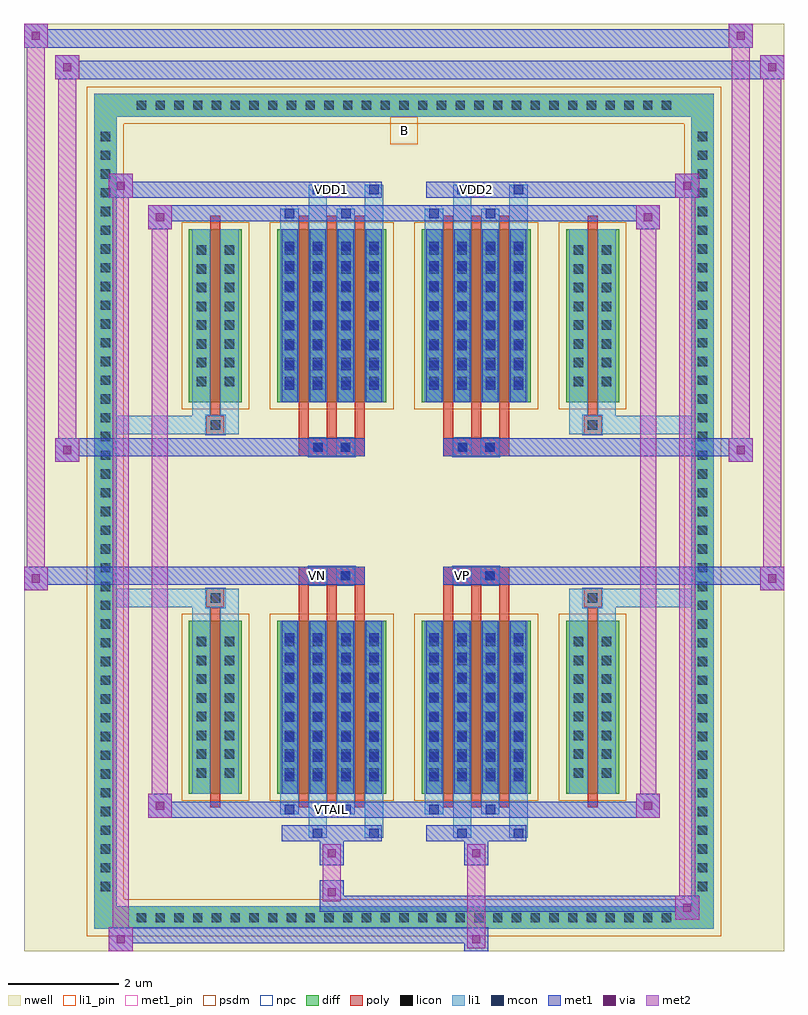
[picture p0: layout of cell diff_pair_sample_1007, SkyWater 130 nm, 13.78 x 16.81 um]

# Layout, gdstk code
import gdstk
lib = gdstk.Library(unit=1e-6, precision=5e-09)
def R(c, l, rs):  # rectangles x0, y0, x1, y1
    for r in rs: c.add(gdstk.rectangle(r[:2], r[2:], *l))
def A(c, l, x, y, w, h, nx, ny, dx, dy):  # array of equal rectangles
    R(c, l, [(x+i*dx, y+j*dy, x+i*dx+w, y+j*dy+h) for i in range(nx) for j in range(ny)])
def P(c, l, *ps):  # polygons
    for p in ps: c.add(gdstk.Polygon(p, *l))
nwell = (64, 20)
diff = (65, 20)
poly = (66, 20)
licon = (66, 44)
li1_pin = (67, 16)
li1 = (67, 20)
mcon = (67, 44)
met1_pin = (68, 16)
met1 = (68, 20)
via = (68, 44)
met2 = (69, 20)
psdm = (94, 20)
npc = (95, 20)

diff_pair_sample_1007 = lib.new_cell('diff_pair_sample_1007')
R(diff_pair_sample_1007, nwell, [(-6.89,-7.97,6.89,8.84), (-4.21,-6.16,-0.01,-0.8), (0.01,-6.16,4.21,-0.8), (-4.21,0.8,-0.01,6.16), (0.01,0.8,4.21,6.16)])
A(diff_pair_sample_1007, diff, -4.965, -7.57, 0.41, 0.41, 29, 2, 0.34, 14.73)
A(diff_pair_sample_1007, diff, -5.62, -7.005, 0.41, 0.41, 1, 41, 0, 0.34)
A(diff_pair_sample_1007, diff, 5.21, -7.005, 0.41, 0.41, 1, 41, 0, 0.34)
R(diff_pair_sample_1007, diff, [(-4.965,-7.57,4.965,-7.16), (-5.62,-7.005,-5.21,7.005), (5.21,-7.005,5.62,7.005), (-3.9,-5.115,-2.94,-1.985), (-2.3,-5.115,-0.32,-1.985), (0.32,-5.115,2.3,-1.985), (2.94,-5.115,3.9,-1.985), (-3.9,1.985,-2.94,5.115), (-2.3,1.985,-0.32,5.115), (0.32,1.985,2.3,5.115), (2.94,1.985,3.9,5.115), (-4.965,7.16,4.965,7.57)])
P(diff_pair_sample_1007, diff, [(5.62,7.57),(-5.62,7.57),(-5.62,-7.16),(-5.21,-7.16),(-5.21,7.16),(5.21,7.16),(5.21,-7.16),(-5.21,-7.16),(-5.62,-7.16),(-5.62,-7.57),(5.62,-7.57)])
A(diff_pair_sample_1007, poly, -1.91, -5.365, 0.18, 3.63, 3, 2, 0.51, 7.1)
A(diff_pair_sample_1007, poly, 0.71, -5.365, 0.18, 3.63, 3, 2, 0.51, 7.1)
A(diff_pair_sample_1007, poly, -1.91, -1.735, 0.18, 0.405, 3, 2, 0.51, 3.065)
A(diff_pair_sample_1007, poly, 0.71, -1.735, 0.18, 0.405, 3, 2, 0.51, 3.065)
R(diff_pair_sample_1007, poly, [(-3.51,-5.365,-3.33,-1.735), (3.33,-5.365,3.51,-1.735), (-3.585,-1.735,-3.255,-1.405), (-3.585,-1.735,-3.255,-1.405), (3.255,-1.735,3.585,-1.405), (3.255,-1.735,3.585,-1.405), (-1.91,-1.33,-0.71,-1), (-1.725,-1.33,-1.395,-1), (-1.225,-1.33,-0.895,-1), (0.71,-1.33,1.91,-1), (0.895,-1.33,1.225,-1), (1.395,-1.33,1.725,-1), (-1.91,1,-0.71,1.33), (-1.725,1,-1.395,1.33), (-1.225,1,-0.895,1.33), (0.71,1,1.91,1.33), (0.895,1,1.225,1.33), (1.395,1,1.725,1.33), (-3.585,1.405,-3.255,1.735), (-3.585,1.405,-3.255,1.735), (3.255,1.405,3.585,1.735), (3.255,1.405,3.585,1.735), (-3.51,1.735,-3.33,5.365), (3.33,1.735,3.51,5.365)])
A(diff_pair_sample_1007, licon, -4.845, -7.45, 0.17, 0.17, 29, 2, 0.34, 14.73)
A(diff_pair_sample_1007, licon, -5.5, -6.885, 0.17, 0.17, 1, 41, 0, 0.34)
A(diff_pair_sample_1007, licon, 5.33, -6.885, 0.17, 0.17, 1, 41, 0, 0.34)
A(diff_pair_sample_1007, licon, -3.76, -4.825, 0.17, 0.17, 1, 8, 0, 0.34)
A(diff_pair_sample_1007, licon, -3.25, -4.825, 0.17, 0.17, 1, 8, 0, 0.34)
A(diff_pair_sample_1007, licon, -2.16, -4.825, 0.17, 0.17, 4, 8, 0.51, 0.34)
A(diff_pair_sample_1007, licon, 0.46, -4.825, 0.17, 0.17, 4, 8, 0.51, 0.34)
A(diff_pair_sample_1007, licon, 3.08, -4.825, 0.17, 0.17, 1, 8, 0, 0.34)
A(diff_pair_sample_1007, licon, 3.59, -4.825, 0.17, 0.17, 1, 8, 0, 0.34)
A(diff_pair_sample_1007, licon, -3.76, 2.275, 0.17, 0.17, 1, 8, 0, 0.34)
A(diff_pair_sample_1007, licon, -3.25, 2.275, 0.17, 0.17, 1, 8, 0, 0.34)
A(diff_pair_sample_1007, licon, -2.16, 2.275, 0.17, 0.17, 4, 8, 0.51, 0.34)
A(diff_pair_sample_1007, licon, 0.46, 2.275, 0.17, 0.17, 4, 8, 0.51, 0.34)
A(diff_pair_sample_1007, licon, 3.08, 2.275, 0.17, 0.17, 1, 8, 0, 0.34)
A(diff_pair_sample_1007, licon, 3.59, 2.275, 0.17, 0.17, 1, 8, 0, 0.34)
R(diff_pair_sample_1007, licon, [(-3.505,-1.655,-3.335,-1.485), (3.335,-1.655,3.505,-1.485), (-1.645,-1.25,-1.475,-1.08), (-1.145,-1.25,-0.975,-1.08), (0.975,-1.25,1.145,-1.08), (1.475,-1.25,1.645,-1.08), (-1.645,1.08,-1.475,1.25), (-1.145,1.08,-0.975,1.25), (0.975,1.08,1.145,1.25), (1.475,1.08,1.645,1.25), (-3.505,1.485,-3.335,1.655), (3.335,1.485,3.505,1.655)])
R(diff_pair_sample_1007, li1_pin, [(-0.25,6.66,0.25,7.16)])
A(diff_pair_sample_1007, li1, -4.925, -7.53, 0.33, 0.33, 29, 2, 0.34, 14.73)
A(diff_pair_sample_1007, li1, -5.58, -6.965, 0.33, 0.33, 1, 41, 0, 0.34)
A(diff_pair_sample_1007, li1, 5.25, -6.965, 0.33, 0.33, 1, 41, 0, 0.34)
A(diff_pair_sample_1007, li1, -2.24, -5.115, 0.33, 3.13, 4, 2, 0.51, 7.1)
A(diff_pair_sample_1007, li1, 0.38, -5.115, 0.33, 3.13, 4, 2, 0.51, 7.1)
A(diff_pair_sample_1007, li1, -3.84, -4.905, 0.33, 0.33, 1, 8, 0, 0.34)
A(diff_pair_sample_1007, li1, -3.33, -4.905, 0.33, 0.33, 1, 8, 0, 0.34)
A(diff_pair_sample_1007, li1, -2.24, -4.905, 0.33, 0.33, 4, 8, 0.51, 0.34)
A(diff_pair_sample_1007, li1, 0.38, -4.905, 0.33, 0.33, 4, 8, 0.51, 0.34)
A(diff_pair_sample_1007, li1, 3, -4.905, 0.33, 0.33, 1, 8, 0, 0.34)
A(diff_pair_sample_1007, li1, 3.51, -4.905, 0.33, 0.33, 1, 8, 0, 0.34)
A(diff_pair_sample_1007, li1, -2.16, -4.895, 0.17, 0.17, 4, 8, 0.51, 0.36)
A(diff_pair_sample_1007, li1, -2.16, -4.895, 0.17, 2.69, 4, 2, 0.51, 7.1)
A(diff_pair_sample_1007, li1, 0.46, -4.895, 0.17, 0.17, 4, 8, 0.51, 0.36)
A(diff_pair_sample_1007, li1, 0.46, -4.895, 0.17, 2.69, 4, 2, 0.51, 7.1)
A(diff_pair_sample_1007, li1, -3.84, 2.195, 0.33, 0.33, 1, 8, 0, 0.34)
A(diff_pair_sample_1007, li1, -3.33, 2.195, 0.33, 0.33, 1, 8, 0, 0.34)
A(diff_pair_sample_1007, li1, -2.24, 2.195, 0.33, 0.33, 4, 8, 0.51, 0.34)
A(diff_pair_sample_1007, li1, 0.38, 2.195, 0.33, 0.33, 4, 8, 0.51, 0.34)
A(diff_pair_sample_1007, li1, 3, 2.195, 0.33, 0.33, 1, 8, 0, 0.34)
A(diff_pair_sample_1007, li1, 3.51, 2.195, 0.33, 0.33, 1, 8, 0, 0.34)
A(diff_pair_sample_1007, li1, -2.16, 2.205, 0.17, 0.17, 4, 8, 0.51, 0.36)
A(diff_pair_sample_1007, li1, 0.46, 2.205, 0.17, 0.17, 4, 8, 0.51, 0.36)
R(diff_pair_sample_1007, li1, [(-5.62,-7.57,-5.21,-7.16), (-5.62,-7.57,-5.21,-7.16), (-5.21,-7.57,5.21,-7.16), (5.21,-7.57,5.62,-7.16), (5.21,-7.57,5.62,-7.16), (-5.62,-7.16,-5.21,7.16), (5.21,-7.16,5.62,7.16), (-1.73,-5.92,-1.4,-5.115), (-1.65,-5.92,-1.48,-5.75), (-0.71,-5.92,-0.38,-5.115), (-0.63,-5.92,-0.46,-5.75), (0.89,-5.92,1.22,-5.115), (0.97,-5.92,1.14,-5.75), (1.91,-5.92,2.24,-5.115), (1.99,-5.92,2.16,-5.75), (-2.24,-5.49,-1.91,-5.115), (-2.16,-5.49,-1.99,-5.32), (-1.22,-5.49,-0.89,-5.115), (-1.14,-5.49,-0.97,-5.32), (0.38,-5.49,0.71,-5.115), (0.46,-5.49,0.63,-5.32), (1.4,-5.49,1.73,-5.115), (1.48,-5.49,1.65,-5.32), (-3.84,-5.115,-3.51,-1.985), (-3.33,-5.115,-3,-1.985), (3,-5.115,3.33,-1.985), (3.51,-5.115,3.84,-1.985), (-3.84,-1.985,-3.51,-1.405), (-3.33,-1.985,-3,-1.405), (3,-1.985,3.33,-1.405), (3.51,-1.985,3.84,-1.405), (-5.62,-1.735,-3.585,-1.405), (-3.84,-1.735,-3.585,-1.405), (-3.585,-1.735,-3.255,-1.405), (-3.255,-1.735,-3,-1.405), (3,-1.735,3.255,-1.405), (3.255,-1.735,3.585,-1.405), (3.255,-1.735,5.62,-1.405), (3.585,-1.735,3.84,-1.405), (-1.725,-1.33,-1.395,-1), (-1.225,-1.33,-0.895,-1), (0.895,-1.33,1.225,-1), (1.395,-1.33,1.725,-1), (-1.725,1,-1.395,1.33), (-1.225,1,-0.895,1.33), (0.895,1,1.225,1.33), (1.395,1,1.725,1.33), (-5.62,1.405,-3.585,1.735), (-3.84,1.405,-3.585,1.735), (-3.84,1.405,-3.51,1.985), (-3.585,1.405,-3.255,1.735), (-3.33,1.405,-3,1.985), (-3.255,1.405,-3,1.735), (3,1.405,3.255,1.735), (3,1.405,3.33,1.985), (3.255,1.405,3.585,1.735), (3.255,1.405,5.62,1.735), (3.51,1.405,3.84,1.985), (3.585,1.405,3.84,1.735), (-3.84,1.985,-3.51,5.115), (-3.33,1.985,-3,5.115), (3,1.985,3.33,5.115), (3.51,1.985,3.84,5.115), (-2.24,5.115,-1.91,5.49), (-1.73,5.115,-1.4,5.92), (-1.22,5.115,-0.89,5.49), (-0.71,5.115,-0.38,5.92), (0.38,5.115,0.71,5.49), (0.89,5.115,1.22,5.92), (1.4,5.115,1.73,5.49), (1.91,5.115,2.24,5.92), (-2.16,5.32,-1.99,5.49), (-1.14,5.32,-0.97,5.49), (0.46,5.32,0.63,5.49), (1.48,5.32,1.65,5.49), (-1.65,5.75,-1.48,5.92), (-0.63,5.75,-0.46,5.92), (0.97,5.75,1.14,5.92), (1.99,5.75,2.16,5.92), (-5.62,7.16,-5.21,7.57), (-5.62,7.16,-5.21,7.57), (-5.21,7.16,5.21,7.57), (5.21,7.16,5.62,7.57), (5.21,7.16,5.62,7.57)])
A(diff_pair_sample_1007, mcon, -2.16, -4.895, 0.17, 0.17, 4, 8, 0.51, 0.36)
A(diff_pair_sample_1007, mcon, 0.46, -4.895, 0.17, 0.17, 4, 8, 0.51, 0.36)
A(diff_pair_sample_1007, mcon, -2.16, 2.205, 0.17, 0.17, 4, 8, 0.51, 0.36)
A(diff_pair_sample_1007, mcon, 0.46, 2.205, 0.17, 0.17, 4, 8, 0.51, 0.36)
R(diff_pair_sample_1007, mcon, [(-1.65,-5.92,-1.48,-5.75), (-0.63,-5.92,-0.46,-5.75), (0.97,-5.92,1.14,-5.75), (1.99,-5.92,2.16,-5.75), (-2.16,-5.49,-1.99,-5.32), (-1.14,-5.49,-0.97,-5.32), (0.46,-5.49,0.63,-5.32), (1.48,-5.49,1.65,-5.32), (-1.645,-1.25,-1.475,-1.08), (-1.145,-1.25,-0.975,-1.08), (0.975,-1.25,1.145,-1.08), (1.475,-1.25,1.645,-1.08), (-1.645,1.08,-1.475,1.25), (-1.145,1.08,-0.975,1.25), (0.975,1.08,1.145,1.25), (1.475,1.08,1.645,1.25), (-2.16,5.32,-1.99,5.49), (-1.14,5.32,-0.97,5.49), (0.46,5.32,0.63,5.49), (1.48,5.32,1.65,5.49), (-1.65,5.75,-1.48,5.92), (-0.63,5.75,-0.46,5.92), (0.97,5.75,1.14,5.92), (1.99,5.75,2.16,5.92)])
R(diff_pair_sample_1007, met1_pin, [(-1.445,-5.53,-1.175,-5.26), (-1.695,-1.29,-1.425,-1.02), (0.925,-1.29,1.195,-1.02), (-1.445,5.71,-1.175,5.98), (1.175,5.71,1.445,5.98)])
A(diff_pair_sample_1007, met1, -2.22, -5.115, 0.29, 3.13, 4, 2, 0.51, 7.1)
A(diff_pair_sample_1007, met1, 0.4, -5.115, 0.29, 3.13, 4, 2, 0.51, 7.1)
A(diff_pair_sample_1007, met1, -2.22, -4.955, 0.29, 0.29, 4, 8, 0.51, 0.36)
A(diff_pair_sample_1007, met1, 0.4, -4.955, 0.29, 0.29, 4, 8, 0.51, 0.36)
A(diff_pair_sample_1007, met1, -2.22, 2.145, 0.29, 0.29, 4, 8, 0.51, 0.36)
A(diff_pair_sample_1007, met1, 0.4, 2.145, 0.29, 0.29, 4, 8, 0.51, 0.36)
R(diff_pair_sample_1007, met1, [(-5.35,-7.97,-4.92,-7.54), (1.095,-7.97,1.525,-7.54), (-5.35,-7.83,1.525,-7.54), (4.92,-7.4,5.35,-6.97), (-1.525,-7.26,5.35,-6.97), (-1.525,-7.12,-1.095,-6.69), (-1.525,-6.41,-1.095,-5.98), (1.095,-6.41,1.525,-5.98), (-2.22,-5.98,-0.4,-5.69), (-1.71,-5.98,-1.42,-5.69), (-0.69,-5.98,-0.4,-5.69), (0.4,-5.98,2.22,-5.69), (0.91,-5.98,1.2,-5.69), (1.93,-5.98,2.22,-5.69), (-4.64,-5.55,-4.21,-5.12), (-4.64,-5.55,-2.22,-5.26), (-2.22,-5.55,-1.93,-5.26), (-2.22,-5.55,-0.4,-5.26), (-1.2,-5.55,-0.91,-5.26), (-0.4,-5.55,0.4,-5.26), (0.4,-5.55,0.69,-5.26), (0.4,-5.55,2.22,-5.26), (1.42,-5.55,1.71,-5.26), (2.22,-5.55,4.64,-5.26), (4.21,-5.55,4.64,-5.12), (-6.89,-1.43,-6.46,-1), (6.46,-1.43,6.89,-1), (-6.89,-1.33,-0.71,-1), (-1.91,-1.33,-0.71,-1), (0.71,-1.33,1.91,-1), (0.71,-1.33,6.89,-1), (-1.705,-1.31,-1.415,-1.02), (-1.205,-1.31,-0.915,-1.02), (0.915,-1.31,1.205,-1.02), (1.415,-1.31,1.705,-1.02), (-6.32,0.9,-5.89,1.33), (5.89,0.9,6.32,1.33), (-6.32,1,-1.91,1.33), (-1.91,1,-0.71,1.33), (0.71,1,1.91,1.33), (1.91,1,6.32,1.33), (-1.705,1.02,-1.415,1.31), (-1.205,1.02,-0.915,1.31), (0.915,1.02,1.205,1.31), (1.415,1.02,1.705,1.31), (-4.64,5.12,-4.21,5.55), (4.21,5.12,4.64,5.55), (-4.64,5.26,-2.22,5.55), (-2.22,5.26,-1.93,5.55), (-2.22,5.26,-0.4,5.55), (-1.2,5.26,-0.91,5.55), (-0.4,5.26,0.4,5.55), (0.4,5.26,0.69,5.55), (0.4,5.26,2.22,5.55), (1.42,5.26,1.71,5.55), (2.22,5.26,4.64,5.55), (-5.35,5.69,-4.92,6.12), (-5.35,5.69,-2.22,5.98), (-2.22,5.69,-0.4,5.98), (-1.71,5.69,-1.42,5.98), (-0.69,5.69,-0.4,5.98), (0.4,5.69,2.22,5.98), (0.91,5.69,1.2,5.98), (1.93,5.69,2.22,5.98), (2.22,5.69,5.35,5.98), (4.92,5.69,5.35,6.12), (-6.32,7.84,-5.89,8.27), (-6.32,7.84,-4.21,8.17), (-4.21,7.84,4.21,8.17), (4.21,7.84,6.89,8.17), (6.46,7.84,6.89,8.27), (-6.89,8.41,-6.46,8.84), (-6.89,8.41,-4.21,8.74), (-4.21,8.41,4.21,8.74), (4.21,8.41,6.32,8.74), (5.89,8.41,6.32,8.84)])
R(diff_pair_sample_1007, via, [(-5.21,-7.83,-5.06,-7.68), (1.235,-7.83,1.385,-7.68), (5.06,-7.26,5.21,-7.11), (-1.385,-6.98,-1.235,-6.83), (-1.385,-6.27,-1.235,-6.12), (1.235,-6.27,1.385,-6.12), (-4.5,-5.41,-4.35,-5.26), (4.35,-5.41,4.5,-5.26), (-6.75,-1.29,-6.6,-1.14), (6.6,-1.29,6.75,-1.14), (-6.18,1.04,-6.03,1.19), (6.03,1.04,6.18,1.19), (-4.5,5.26,-4.35,5.41), (4.35,5.26,4.5,5.41), (-5.21,5.83,-5.06,5.98), (5.06,5.83,5.21,5.98), (-6.18,7.98,-6.03,8.13), (6.6,7.98,6.75,8.13), (-6.75,8.55,-6.6,8.7), (6.03,8.55,6.18,8.7)])
R(diff_pair_sample_1007, met2, [(-5.35,-7.97,-4.92,-7.54), (-5.28,-7.97,-4.99,6.12), (-4.99,-7.97,-4.92,-7.54), (-5.3,-7.92,-4.97,-7.59), (1.145,-7.92,1.475,-7.59), (1.145,-7.59,1.475,-6.36), (4.92,-7.4,5.35,-6.97), (4.99,-7.4,5.28,6.12), (5.28,-7.4,5.35,-6.97), (4.97,-7.35,5.3,-7.02), (-1.475,-7.07,-1.145,-6.74), (-1.475,-6.74,-1.145,-6.36), (-1.475,-6.36,-1.145,-6.03), (1.145,-6.36,1.475,-6.03), (-4.64,-5.55,-4.21,-5.12), (-4.57,-5.55,-4.28,5.55), (-4.28,-5.55,-4.21,-5.12), (4.21,-5.55,4.64,-5.12), (4.28,-5.55,4.57,5.55), (4.57,-5.55,4.64,-5.12), (-4.59,-5.5,-4.26,-5.17), (4.26,-5.5,4.59,-5.17), (-6.89,-1.43,-6.46,-1), (-6.84,-1.43,-6.51,8.84), (-6.51,-1.43,-6.46,-1), (6.46,-1.43,6.89,-1), (6.51,-1.43,6.84,8.27), (6.84,-1.43,6.89,-1), (-6.84,-1.38,-6.51,-1.05), (6.51,-1.38,6.84,-1.05), (-6.32,0.9,-5.89,1.33), (-6.27,0.9,-5.94,8.27), (-5.94,0.9,-5.89,1.33), (5.89,0.9,6.32,1.33), (5.94,0.9,6.27,8.84), (6.27,0.9,6.32,1.33), (-6.27,0.95,-5.94,1.28), (5.94,0.95,6.27,1.28), (-4.64,5.12,-4.21,5.55), (-4.28,5.12,-4.21,5.55), (4.21,5.12,4.64,5.55), (4.57,5.12,4.64,5.55), (-4.59,5.17,-4.26,5.5), (4.26,5.17,4.59,5.5), (-5.35,5.69,-4.92,6.12), (-4.99,5.69,-4.92,6.12), (4.92,5.69,5.35,6.12), (5.28,5.69,5.35,6.12), (-5.3,5.74,-4.97,6.07), (4.97,5.74,5.3,6.07), (-6.32,7.84,-5.89,8.27), (-5.94,7.84,-5.89,8.27), (6.46,7.84,6.89,8.27), (6.84,7.84,6.89,8.27), (-6.27,7.89,-5.94,8.22), (6.51,7.89,6.84,8.22), (-6.89,8.41,-6.46,8.84), (-6.51,8.41,-6.46,8.84), (5.89,8.41,6.32,8.84), (6.27,8.41,6.32,8.84), (-6.84,8.46,-6.51,8.79), (5.94,8.46,6.27,8.79)])
R(diff_pair_sample_1007, psdm, [(-4.03,-5.245,-2.81,-1.855), (-2.43,-5.245,-0.19,-1.855), (0.19,-5.245,2.43,-1.855), (2.81,-5.245,4.03,-1.855), (-4.03,1.855,-2.81,5.245), (-2.43,1.855,-0.19,5.245), (0.19,1.855,2.43,5.245), (2.81,1.855,4.03,5.245)])
P(diff_pair_sample_1007, psdm, [(5.75,7.7),(-5.75,7.7),(-5.75,-7.03),(-5.08,-7.03),(-5.08,7.03),(5.08,7.03),(5.08,-7.03),(-5.08,-7.03),(-5.75,-7.03),(-5.75,-7.7),(5.75,-7.7)])
R(diff_pair_sample_1007, npc, [(-3.605,-1.755,-3.235,-1.385), (3.235,-1.755,3.605,-1.385), (-1.745,-1.35,-1.375,-0.98), (-1.745,-1.35,-0.875,-0.98), (-1.745,-1.35,-0.875,-0.98), (-1.245,-1.35,-0.875,-0.98), (0.875,-1.35,1.245,-0.98), (0.875,-1.35,1.745,-0.98), (0.875,-1.35,1.745,-0.98), (1.375,-1.35,1.745,-0.98), (-1.745,0.98,-1.375,1.35), (-1.745,0.98,-0.875,1.35), (-1.745,0.98,-0.875,1.35), (-1.245,0.98,-0.875,1.35), (0.875,0.98,1.245,1.35), (0.875,0.98,1.745,1.35), (0.875,0.98,1.745,1.35), (1.375,0.98,1.745,1.35), (-3.605,1.385,-3.235,1.755), (3.235,1.385,3.605,1.755)])
diff_pair_sample_1007.add(gdstk.Label('VTAIL', (-1.31,-5.395), layer=68, texttype=5))
diff_pair_sample_1007.add(gdstk.Label('VN', (-1.56,-1.155), layer=68, texttype=5))
diff_pair_sample_1007.add(gdstk.Label('VP', (1.06,-1.155), layer=68, texttype=5))
diff_pair_sample_1007.add(gdstk.Label('B', (0,6.91), layer=67, texttype=5))
diff_pair_sample_1007.add(gdstk.Label('VDD2', (1.31,5.845), layer=68, texttype=5))
diff_pair_sample_1007.add(gdstk.Label('VDD1', (-1.31,5.845), layer=68, texttype=5))

lib.write_gds('diff_pair_sample_1007.gds')
